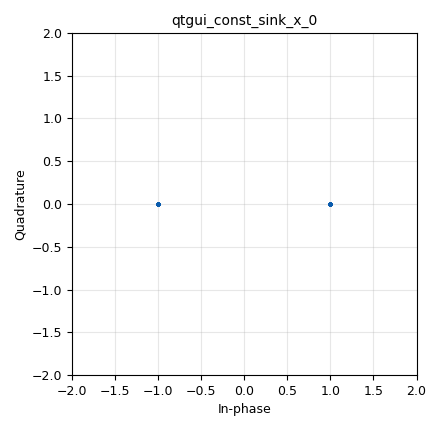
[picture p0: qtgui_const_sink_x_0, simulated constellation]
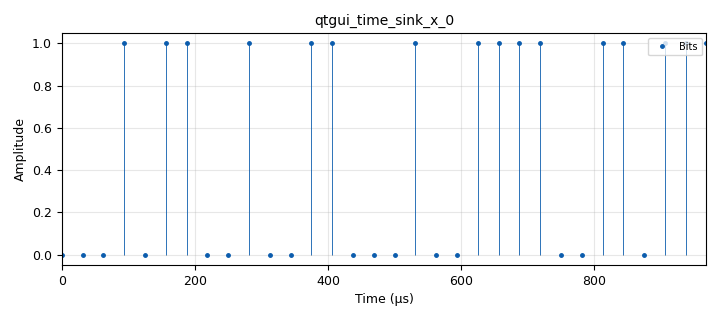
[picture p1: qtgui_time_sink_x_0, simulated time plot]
options:
  parameters:
    author: Juan David Barrero L
    description: BPSK primera modulacion
    generate_options: qt_gui
    id: BPSK
    output_language: python
    title: BPSK
  states: {}

blocks:
- name: samp_rate
  id: variable
  parameters:
    value: '32000'
  states: {}
- name: analog_const_source_x_0
  id: analog_const_source_x
  parameters:
    const: '0'
    type: float
  states: {}
- name: analog_random_source_x_0
  id: analog_random_source_x
  parameters:
    max: '2'
    min: '0'
    num_samps: '1000'
    repeat: 'True'
    type: byte
  states: {}
- name: blocks_add_const_vxx_0
  id: blocks_add_const_vxx
  parameters:
    const: '-1'
    type: float
  states: {}
- name: blocks_char_to_float_0
  id: blocks_char_to_float
  parameters:
    scale: '1'
  states: {}
- name: blocks_complex_to_float_0
  id: blocks_complex_to_float
  parameters: {}
  states: {}
- name: blocks_float_to_complex_0
  id: blocks_float_to_complex
  parameters: {}
  states: {}
- name: blocks_multiply_const_vxx_0
  id: blocks_multiply_const_vxx
  parameters:
    const: '2'
    type: float
  states: {}
- name: blocks_null_sink_0
  id: blocks_null_sink
  parameters:
    type: float
  states: {}
- name: blocks_threshold_ff_0
  id: blocks_threshold_ff
  parameters:
    high: '0'
    init: '0'
    low: '0'
  states: {}
- name: blocks_throttle_0
  id: blocks_throttle
  parameters:
    samples_per_second: samp_rate
    type: byte
  states: {}
- name: qtgui_const_sink_x_0
  id: qtgui_const_sink_x
  parameters:
    size: '1024'
    type: complex
  states: {}
- name: qtgui_number_sink_0
  id: qtgui_number_sink
  parameters:
    autoscale: 'True'
    graph_type: qtgui.NUM_GRAPH_HORIZ
    name: '"Bit mostrado"'
    type: float
  states: {}
- name: qtgui_time_sink_x_0
  id: qtgui_time_sink_x
  parameters:
    autoscale: 'True'
    label1: Bits
    marker1: '0'
    size: '32'
    srate: samp_rate
    stemplot: 'True'
    type: float
  states: {}
- name: virtual_sink_0
  id: virtual_sink
  parameters: {}
  states: {}
- name: virtual_source_0
  id: virtual_source
  parameters: {}
  states: {}

connections:
- [analog_const_source_x_0, '0', blocks_float_to_complex_0, '1']
- [analog_random_source_x_0, '0', blocks_throttle_0, '0']
- [blocks_add_const_vxx_0, '0', blocks_float_to_complex_0, '0']
- [blocks_char_to_float_0, '0', blocks_multiply_const_vxx_0, '0']
- [blocks_char_to_float_0, '0', qtgui_time_sink_x_0, '0']
- [blocks_complex_to_float_0, '0', blocks_threshold_ff_0, '0']
- [blocks_complex_to_float_0, '1', blocks_null_sink_0, '0']
- [blocks_float_to_complex_0, '0', qtgui_const_sink_x_0, '0']
- [blocks_float_to_complex_0, '0', virtual_sink_0, '0']
- [blocks_multiply_const_vxx_0, '0', blocks_add_const_vxx_0, '0']
- [blocks_threshold_ff_0, '0', qtgui_number_sink_0, '0']
- [blocks_throttle_0, '0', blocks_char_to_float_0, '0']
- [virtual_source_0, '0', blocks_complex_to_float_0, '0']

metadata:
  file_format: 1
